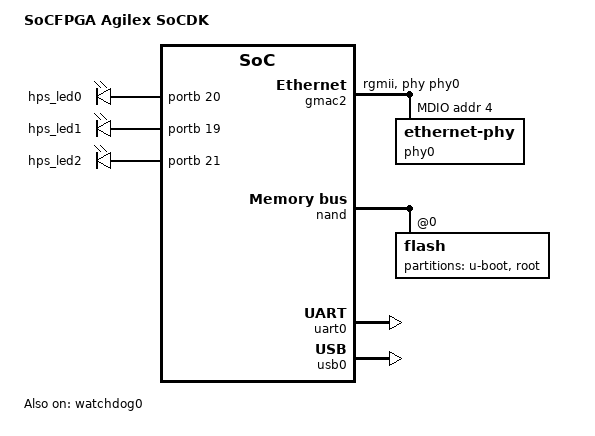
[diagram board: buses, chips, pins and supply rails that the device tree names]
// SPDX-License-Identifier:     GPL-2.0
/*
 * Copyright (C) 2019, Intel Corporation
 */
#include "socfpga_agilex.dtsi"

/ {
	model = "SoCFPGA Agilex SoCDK";
	compatible = "intel,socfpga-agilex-socdk", "intel,socfpga-agilex";

	aliases {
		serial0 = &uart0;
		ethernet0 = &gmac0;
		ethernet1 = &gmac1;
		ethernet2 = &gmac2;
	};

	chosen {
		stdout-path = "serial0:115200n8";
	};

	leds {
		compatible = "gpio-leds";
		led0 {
			label = "hps_led0";
			gpios = <&portb 20 GPIO_ACTIVE_HIGH>;
		};

		led1 {
			label = "hps_led1";
			gpios = <&portb 19 GPIO_ACTIVE_HIGH>;
		};

		led2 {
			label = "hps_led2";
			gpios = <&portb 21 GPIO_ACTIVE_HIGH>;
		};
	};

	memory@80000000 {
		device_type = "memory";
		/* We expect the bootloader to fill in the reg */
		reg = <0 0x80000000 0 0>;
	};
};

&gpio1 {
	status = "okay";
};

&gmac2 {
	status = "okay";
	phy-mode = "rgmii";
	phy-handle = <&phy0>;

	max-frame-size = <9000>;

	mdio0 {
		#address-cells = <1>;
		#size-cells = <0>;
		compatible = "snps,dwmac-mdio";
		phy0: ethernet-phy@0 {
			reg = <4>;

			txd0-skew-ps = <0>; /* -420ps */
			txd1-skew-ps = <0>; /* -420ps */
			txd2-skew-ps = <0>; /* -420ps */
			txd3-skew-ps = <0>; /* -420ps */
			rxd0-skew-ps = <420>; /* 0ps */
			rxd1-skew-ps = <420>; /* 0ps */
			rxd2-skew-ps = <420>; /* 0ps */
			rxd3-skew-ps = <420>; /* 0ps */
			txen-skew-ps = <0>; /* -420ps */
			txc-skew-ps = <900>; /* 0ps */
			rxdv-skew-ps = <420>; /* 0ps */
			rxc-skew-ps = <1680>; /* 780ps */
		};
	};
};

&nand {
	status = "okay";

	flash@0 {
		#address-cells = <1>;
		#size-cells = <1>;
		reg = <0>;
		nand-bus-width = <16>;

		partition@0 {
			label = "u-boot";
			reg = <0 0x200000>;
		};
		partition@200000 {
			label = "root";
			reg = <0x200000 0x3fe00000>;
		};
	};
};

&osc1 {
	clock-frequency = <25000000>;
};

&uart0 {
	status = "okay";
};

&usb0 {
	status = "okay";
	disable-over-current;
};

&watchdog0 {
	status = "okay";
};

&temp_volt {
	voltage {
		#address-cells = <1>;
		#size-cells = <0>;
		input@2 {
			label = "0.8V VCC";
			reg = <2>;
		};

		input@3 {
			label = "1.8V VCCIO_SDM";
			reg = <3>;
		};

		input@4 {
			label = "1.8V VCCPT";
			reg = <4>;
		};

		input@5 {
			label = "1.2V VCCCRCORE";
			reg = <5>;
		};

		input@6 {
			label = "0.9V VCCH";
			reg = <6>;
		};

		input@7 {
			label = "0.8V VCCL";
			reg = <7>;
		};
	};

	temperature {
		#address-cells = <1>;
		#size-cells = <0>;

		input@0 {
			label = "Main Die SDM";
			reg = <0x0>;
		};

		input@10001 {
			label = "Main Die corner bottom left 1";
			reg = <0x10001>;
		};

		input@10002 {
			label = "Main Die corner bottom left 1";
			reg = <0x10002>;
		};

		input@20001 {
			label = "Main Die corner top left 1";
			reg = <0x20001>;
		};

		input@20002 {
			label = "Main Die corner top left 2";
			reg = <0x20002>;
		};

		input@30001 {
			label = "Main Die corner bottom right 1";
			reg = <0x30001>;
		};

		input@30002 {
			label = "Main Die corner bottom right 2";
			reg = <0x30002>;
		};

		input@40001 {
			label = "Main Die corner top right HPS 1";
			reg = <0x40001>;
		};

		input@40002 {
			label = "Main Die corner bottom right";
			reg = <0x40002>;
		};
	};
};

